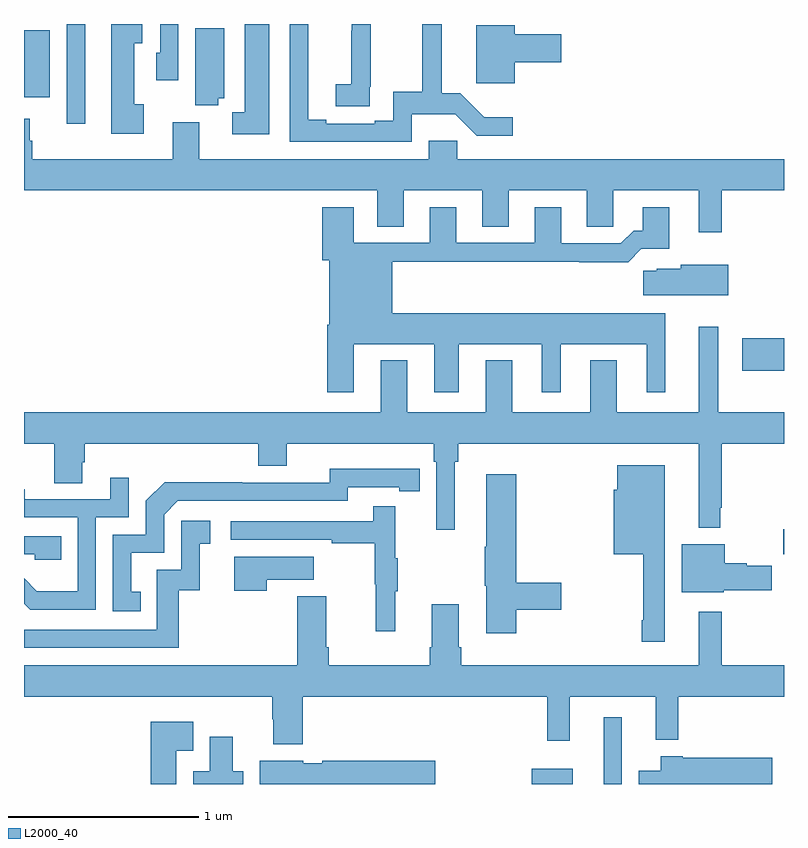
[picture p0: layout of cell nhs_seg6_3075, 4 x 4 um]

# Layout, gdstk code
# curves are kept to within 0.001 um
import gdstk
lib = gdstk.Library(unit=1e-6, precision=1e-09)
def R(c, l, rs):  # rectangles x0, y0, x1, y1
    for r in rs: c.add(gdstk.rectangle(r[:2], r[2:], *l))
def P(c, l, *ps):  # polygons
    for p in ps: c.add(gdstk.Polygon(p, *l))
L2000_40 = (2000, 40)

nhs_seg6_3075 = lib.new_cell('nhs_seg6_3075')
R(nhs_seg6_3075, L2000_40, [(293.672,989.5,293.887,989.581), (294.05,989.5,294.147,989.851), (294.996,990.71,295,990.84), (294.78,991.676,295,991.847), (291.225,992.976,291.322,993.5), (291,993.114,291.136,993.466)])
P(nhs_seg6_3075, L2000_40, [(293.04,993.026),(293.269,993.026),(293.382,992.913),(293.572,992.913),(293.572,993.01),(293.423,993.01),(293.297,993.136),(293.198,993.136),(293.198,993.5),(293.095,993.5),(293.095,993.143),(292.944,993.143),(292.944,992.99),(292.847,992.99),(292.847,992.976),(292.591,992.976),(292.591,992.996),(292.495,992.996),(292.495,993.259),(292.497,993.259),(292.497,993.5),(292.398,993.5),(292.398,992.88),(293.04,992.88)],
  [(292.82,993.169),(292.826,993.169),(292.826,993.5),(292.724,993.5),(292.724,993.465),(292.723,993.465),(292.723,993.182),(292.641,993.182),(292.641,993.067),(292.82,993.067)],
  [(291.813,993.5),(291.717,993.5),(291.717,993.348),(291.696,993.348),(291.696,993.204),(291.813,993.204)],
  [(291.631,993.078),(291.58,993.078),(291.58,993.398),(291.622,993.398),(291.622,993.5),(291.458,993.5),(291.458,992.922),(291.631,992.922)],
  [(292.291,993.5),(292.163,993.5),(292.163,993.036),(292.095,993.036),(292.095,992.921),(292.291,992.921)],
  [(293.584,993.299),(293.827,993.299),(293.827,993.446),(293.584,993.446),(293.584,993.493),(293.381,993.493),(293.381,993.188),(293.584,993.188)],
  [(292.022,993.11),(292.054,993.11),(292.054,993.478),(291.902,993.478),(291.902,993.073),(292.022,993.073)],
  [(293.281,992.886),(293.129,992.886),(293.129,992.788),(291.922,992.788),(291.922,992.983),(291.782,992.983),(291.782,992.788),(291.044,992.788),(291.044,992.886),(291.031,992.886),(291.031,993.001),(291,993.001),(291,992.624),(292.859,992.624),(292.859,992.434),(292.999,992.434),(292.999,992.624),(293.411,992.624),(293.411,992.434),(293.551,992.434),(293.551,992.624),(293.963,992.624),(293.963,992.434),(294.102,992.434),(294.102,992.624),(294.551,992.624),(294.551,992.403),(294.673,992.403),(294.673,992.624),(295,992.624),(295,992.788),(293.281,992.788)],
  [(292.735,991.814),(293.159,991.814),(293.159,991.563),(293.287,991.563),(293.287,991.814),(293.726,991.814),(293.726,991.563),(293.824,991.563),(293.824,991.814),(294.278,991.814),(294.278,991.563),(294.376,991.563),(294.376,991.978),(292.939,991.978),(292.939,992.248),(293.923,992.248),(293.923,992.246),(294.179,992.246),(294.249,992.316),(294.397,992.316),(294.397,992.536),(294.257,992.536),(294.257,992.413),(294.208,992.413),(294.141,992.346),(293.827,992.346),(293.827,992.536),(293.687,992.536),(293.687,992.349),(293.275,992.349),(293.275,992.536),(293.135,992.536),(293.135,992.349),(292.735,992.349),(292.735,992.536),(292.571,992.536),(292.571,992.256),(292.607,992.256),(292.607,991.918),(292.595,991.918),(292.595,991.563),(292.735,991.563)],
  [(294.706,992.233),(294.456,992.233),(294.456,992.212),(294.33,992.212),(294.33,992.201),(294.258,992.201),(294.258,992.072),(294.706,992.072)],
  [(293.266,991.196),(293.285,991.196),(293.285,991.292),(294.551,991.292),(294.551,990.848),(294.665,990.848),(294.665,990.955),(294.673,990.955),(294.673,991.292),(295,991.292),(295,991.456),(294.655,991.456),(294.655,991.906),(294.551,991.906),(294.551,991.456),(294.121,991.456),(294.121,991.729),(293.981,991.729),(293.981,991.456),(293.569,991.456),(293.569,991.729),(293.429,991.729),(293.429,991.456),(293.017,991.456),(293.017,991.729),(292.877,991.729),(292.877,991.456),(291,991.456),(291,991.292),(291.16,991.292),(291.16,991.084),(291.307,991.084),(291.307,991.194),(291.32,991.194),(291.32,991.292),(292.232,991.292),(292.232,991.175),(292.384,991.175),(292.384,991.292),(293.156,991.292),(293.156,991.196),(293.169,991.196),(293.169,990.837),(293.266,990.837)],
  [(294.373,991.177),(294.122,991.177),(294.122,991.05),(294.104,991.05),(294.104,990.71),(294.259,990.71),(294.259,990.361),(294.252,990.361),(294.252,990.249),(294.373,990.249)],
  [(291.614,990.513),(291.565,990.513),(291.565,990.717),(291.738,990.717),(291.738,990.918),(291.81,990.99),(292.704,990.99),(292.704,991.062),(292.976,991.062),(292.976,991.042),(293.084,991.042),(293.084,991.158),(292.608,991.159),(292.608,991.086),(292.148,991.086),(292.148,991.088),(291.74,991.088),(291.642,990.99),(291.642,990.813),(291.468,990.813),(291.468,990.408),(291.614,990.408)],
  [(293.591,990.418),(293.827,990.418),(293.827,990.56),(293.591,990.56),(293.591,991.129),(293.432,991.129),(293.432,990.749),(293.425,990.749),(293.425,990.543),(293.432,990.543),(293.432,990.294),(293.591,990.294)],
  [(291.378,990.903),(291.552,990.903),(291.552,991.111),(291.455,991.111),(291.455,990.999),(291.004,990.999),(291.004,991.051),(291,991.051),(291,990.903),(291.282,990.903),(291.282,990.514),(291.068,990.514),(291,990.582),(291,990.449),(291.032,990.417),(291.378,990.417)],
  [(292.955,990.515),(292.966,990.515),(292.966,990.689),(292.955,990.689),(292.955,990.961),(292.837,990.961),(292.837,990.882),(292.089,990.882),(292.089,990.786),(292.621,990.786),(292.621,990.766),(292.845,990.766),(292.845,990.552),(292.852,990.552),(292.852,990.303),(292.955,990.303)],
  [(291.815,990.519),(291.926,990.519),(291.926,990.765),(291.979,990.765),(291.979,990.886),(291.828,990.886),(291.828,990.627),(291.699,990.627),(291.699,990.312),(291,990.312),(291,990.216),(291.815,990.216)],
  [(291.197,990.804),(291,990.804),(291,990.708),(291.057,990.708),(291.057,990.681),(291.197,990.681)],
  [(294.684,990.52),(294.936,990.52),(294.936,990.649),(294.804,990.649),(294.804,990.662),(294.688,990.662),(294.688,990.763),(294.461,990.763),(294.461,990.509),(294.684,990.509)],
  [(292.277,990.575),(292.525,990.575),(292.525,990.697),(292.106,990.697),(292.106,990.516),(292.277,990.516)],
  [(292.466,989.96),(293.755,989.96),(293.755,989.727),(293.873,989.727),(293.873,989.96),(294.326,989.96),(294.326,989.732),(294.443,989.732),(294.443,989.96),(295,989.96),(295,990.124),(294.673,990.124),(294.673,990.406),(294.551,990.406),(294.551,990.124),(293.3,990.124),(293.3,990.22),(293.287,990.22),(293.287,990.445),(293.147,990.445),(293.147,990.22),(293.135,990.22),(293.135,990.124),(292.604,990.124),(292.604,990.22),(292.591,990.22),(292.591,990.487),(292.439,990.487),(292.439,990.124),(291,990.124),(291,989.96),(292.306,989.96),(292.306,989.84),(292.313,989.84),(292.313,989.708),(292.466,989.708)],
  [(291.802,989.675),(291.892,989.675),(291.892,989.827),(291.668,989.827),(291.668,989.5),(291.802,989.5)],
  [(292.153,989.566),(292.099,989.566),(292.099,989.749),(291.977,989.749),(291.977,989.566),(291.89,989.566),(291.89,989.5),(292.153,989.5)],
  [(294.937,989.637),(294.468,989.637),(294.468,989.647),(294.35,989.647),(294.35,989.569),(294.236,989.569),(294.236,989.5),(294.937,989.5)],
  [(293.165,989.623),(292.57,989.623),(292.57,989.61),(292.47,989.61),(292.47,989.623),(292.241,989.623),(292.241,989.5),(293.165,989.5)])

lib.write_gds('nhs_seg6_3075.gds')
